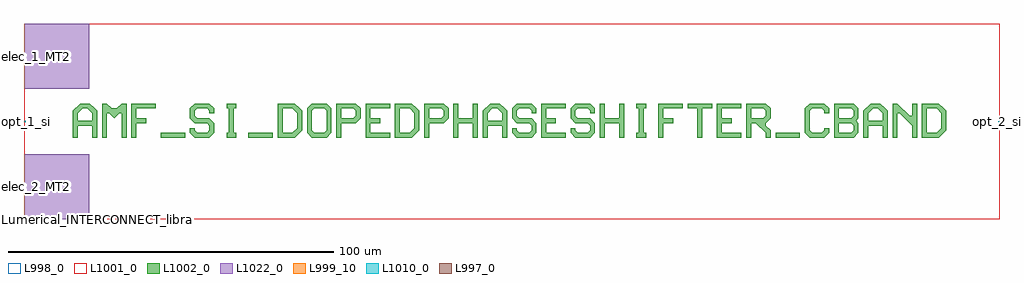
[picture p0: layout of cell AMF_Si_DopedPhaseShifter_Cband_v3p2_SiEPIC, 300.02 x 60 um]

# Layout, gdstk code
import gdstk
lib = gdstk.Library(unit=1e-6, precision=1e-09)
def R(c, l, rs):  # rectangles x0, y0, x1, y1
    for r in rs: c.add(gdstk.rectangle(r[:2], r[2:], *l))
def P(c, l, *ps):  # polygons
    for p in ps: c.add(gdstk.Polygon(p, *l))
L997_0 = (997, 0)
L998_0 = (998, 0)
L999_10 = (999, 10)
L1001_0 = (1001, 0)
L1002_0 = (1002, 0)
L1010_0 = (1010, 0)
L1022_0 = (1022, 0)

amf_si_dopedphaseshifter = lib.new_cell('AMF_Si_DopedPhaseShifter_Cband_v3p2')
R(amf_si_dopedphaseshifter, L1001_0, [(0,-30,300,30)])
R(amf_si_dopedphaseshifter, L1002_0, [(42,-5,49.5,-3.5), (69,-5,76.5,-3.5), (231,-5,238.5,-3.5)])
P(amf_si_dopedphaseshifter, L1002_0, [(15,-5),(15,3.25),(17.25,5.5),(20.25,5.5),(21.75,4),(18,4),(16.5,2.5),(16.5,0.25),(21,0.25),(21,2.5),(19.5,4),(21.75,4),(22.5,3.25),(22.5,-5),(21,-5),(21,-1.25),(16.5,-1.25),(16.5,-5)],
  [(24,-5),(24,5.5),(25.5,5.5),(27,4),(28.5,4),(30,5.5),(31.5,5.5),(31.5,-5),(30,-5),(30,2.5),(29.25,2.5),(27.75,1),(26.25,2.5),(25.5,2.5),(25.5,-5)],
  [(33,-5),(33,5.5),(40.5,5.5),(40.5,4),(34.5,4),(34.5,1),(37.5,1),(37.5,-0.5),(34.5,-0.5),(34.5,-5)],
  [(52.5,-5),(51,-3.5),(51,-2),(52.5,-2),(52.5,-2.75),(53.25,-3.5),(56.25,-3.5),(57,-2.75),(57,-1.25),(56.25,-0.5),(52.5,-0.5),(51,1),(51,4),(52.5,5.5),(57,5.5),(58.5,4),(58.5,2.5),(57,2.5),(57,3.25),(56.25,4),(53.25,4),(52.5,3.25),(52.5,1.75),(53.25,1),(57,1),(58.5,-0.5),(58.5,-3.5),(57,-5)],
  [(62.25,-5),(62.25,-3.5),(63,-3.5),(63,4),(62.25,4),(62.25,5.5),(65.25,5.5),(65.25,4),(64.5,4),(64.5,-3.5),(65.25,-3.5),(65.25,-5)],
  [(78,-5),(78,5.5),(83.25,5.5),(84.75,4),(79.5,4),(79.5,-3.5),(82.5,-3.5),(84,-2),(84,2.5),(82.5,4),(84.75,4),(85.5,3.25),(85.5,-2.75),(83.25,-5)],
  [(88.5,-5),(87,-3.5),(87,4),(88.5,5.5),(93,5.5),(94.5,4),(94.5,0.25),(93,0.25),(93,3.25),(92.25,4),(89.25,4),(88.5,3.25),(88.5,-2.75),(89.25,-3.5),(92.25,-3.5),(93,-2.75),(93,0.25),(94.5,0.25),(94.5,-3.5),(93,-5)],
  [(96,-5),(96,5.5),(102,5.5),(103.5,4),(103.5,1),(102,-0.5),(97.5,-0.5),(97.5,1),(101.25,1),(102,1.75),(102,3.25),(101.25,4),(97.5,4),(97.5,-5)],
  [(105,-5),(105,5.5),(112.5,5.5),(112.5,4),(106.5,4),(106.5,1),(109.5,1),(109.5,-0.5),(106.5,-0.5),(106.5,-3.5),(112.5,-3.5),(112.5,-5)],
  [(114,-5),(114,5.5),(119.25,5.5),(120.75,4),(115.5,4),(115.5,-3.5),(118.5,-3.5),(120,-2),(120,2.5),(118.5,4),(120.75,4),(121.5,3.25),(121.5,-2.75),(119.25,-5)],
  [(123,-5),(123,5.5),(129,5.5),(130.5,4),(130.5,1),(129,-0.5),(124.5,-0.5),(124.5,1),(128.25,1),(129,1.75),(129,3.25),(128.25,4),(124.5,4),(124.5,-5)],
  [(132,-5),(132,5.5),(133.5,5.5),(133.5,1),(138,1),(138,5.5),(139.5,5.5),(139.5,-5),(138,-5),(138,-0.5),(133.5,-0.5),(133.5,-5)],
  [(141,-5),(141,3.25),(143.25,5.5),(146.25,5.5),(147.75,4),(144,4),(142.5,2.5),(142.5,0.25),(147,0.25),(147,2.5),(145.5,4),(147.75,4),(148.5,3.25),(148.5,-5),(147,-5),(147,-1.25),(142.5,-1.25),(142.5,-5)],
  [(151.5,-5),(150,-3.5),(150,-2),(151.5,-2),(151.5,-2.75),(152.25,-3.5),(155.25,-3.5),(156,-2.75),(156,-1.25),(155.25,-0.5),(151.5,-0.5),(150,1),(150,4),(151.5,5.5),(156,5.5),(157.5,4),(157.5,2.5),(156,2.5),(156,3.25),(155.25,4),(152.25,4),(151.5,3.25),(151.5,1.75),(152.25,1),(156,1),(157.5,-0.5),(157.5,-3.5),(156,-5)],
  [(159,-5),(159,5.5),(166.5,5.5),(166.5,4),(160.5,4),(160.5,1),(163.5,1),(163.5,-0.5),(160.5,-0.5),(160.5,-3.5),(166.5,-3.5),(166.5,-5)],
  [(169.5,-5),(168,-3.5),(168,-2),(169.5,-2),(169.5,-2.75),(170.25,-3.5),(173.25,-3.5),(174,-2.75),(174,-1.25),(173.25,-0.5),(169.5,-0.5),(168,1),(168,4),(169.5,5.5),(174,5.5),(175.5,4),(175.5,2.5),(174,2.5),(174,3.25),(173.25,4),(170.25,4),(169.5,3.25),(169.5,1.75),(170.25,1),(174,1),(175.5,-0.5),(175.5,-3.5),(174,-5)],
  [(177,-5),(177,5.5),(178.5,5.5),(178.5,1),(183,1),(183,5.5),(184.5,5.5),(184.5,-5),(183,-5),(183,-0.5),(178.5,-0.5),(178.5,-5)],
  [(188.25,-5),(188.25,-3.5),(189,-3.5),(189,4),(188.25,4),(188.25,5.5),(191.25,5.5),(191.25,4),(190.5,4),(190.5,-3.5),(191.25,-3.5),(191.25,-5)],
  [(195,-5),(195,5.5),(202.5,5.5),(202.5,4),(196.5,4),(196.5,1),(199.5,1),(199.5,-0.5),(196.5,-0.5),(196.5,-5)],
  [(207,-5),(207,4),(204,4),(204,5.5),(211.5,5.5),(211.5,4),(208.5,4),(208.5,-5)],
  [(213,-5),(213,5.5),(220.5,5.5),(220.5,4),(214.5,4),(214.5,1),(217.5,1),(217.5,-0.5),(214.5,-0.5),(214.5,-3.5),(220.5,-3.5),(220.5,-5)],
  [(222,-5),(222,5.5),(228,5.5),(229.5,4),(223.5,4),(223.5,1),(227.25,1),(228,1.75),(228,3.25),(227.25,4),(229.5,4),(229.5,1),(228,-0.5),(228,-1.25),(229.5,-2.75),(229.5,-5),(228,-5),(228,-3.5),(225,-0.5),(223.5,-0.5),(223.5,-5)],
  [(241.5,-5),(240,-3.5),(240,4),(241.5,5.5),(246,5.5),(247.5,4),(247.5,2.5),(246,2.5),(246,3.25),(245.25,4),(242.25,4),(241.5,3.25),(241.5,-2.75),(242.25,-3.5),(245.25,-3.5),(246,-2.75),(246,-2),(247.5,-2),(247.5,-3.5),(246,-5)],
  [(249,-5),(249,5.5),(255,5.5),(256.5,4),(250.5,4),(250.5,1),(254.25,1),(255,1.75),(255,3.25),(254.25,4),(256.5,4),(256.5,1),(255.75,0.25),(256.5,-0.5),(250.5,-0.5),(250.5,-3.5),(254.25,-3.5),(255,-2.75),(255,-1.25),(254.25,-0.5),(256.5,-0.5),(256.5,-3.5),(255,-5)],
  [(258,-5),(258,3.25),(260.25,5.5),(263.25,5.5),(264.75,4),(261,4),(259.5,2.5),(259.5,0.25),(264,0.25),(264,2.5),(262.5,4),(264.75,4),(265.5,3.25),(265.5,-5),(264,-5),(264,-1.25),(259.5,-1.25),(259.5,-5)],
  [(267,-5),(267,5.5),(268.5,5.5),(272.25,1.75),(273,1.75),(273,5.5),(274.5,5.5),(274.5,-5),(273,-5),(273,-1.25),(269.25,2.5),(268.5,2.5),(268.5,-5)],
  [(276,-5),(276,5.5),(281.25,5.5),(282.75,4),(277.5,4),(277.5,-3.5),(280.5,-3.5),(282,-2),(282,2.5),(280.5,4),(282.75,4),(283.5,3.25),(283.5,-2.75),(281.25,-5)])
R(amf_si_dopedphaseshifter, L1010_0, [(0,-0.25,0.5,0.25), (299.5,-0.25,300,0.25)])
R(amf_si_dopedphaseshifter, L1022_0, [(0,-30,20,-10), (0,10,20,30)])
amf_si_dopedphaseshifter.add(gdstk.Label('opt_2_si', (300,0), layer=1010, texttype=0))
amf_si_dopedphaseshifter.add(gdstk.Label('opt_1_si', (0,0), layer=1010, texttype=0))
amf_si_dopedphaseshifter.add(gdstk.Label('elec_1_MT2', (0,20), layer=1022, texttype=0))
amf_si_dopedphaseshifter.add(gdstk.Label('elec_2_MT2', (0,-20), layer=1022, texttype=0))

c_amf_si_dopedphaseshifter = lib.new_cell('AMF_Si_DopedPhaseShifter_Cband_v3p2_SiEPIC')
R(c_amf_si_dopedphaseshifter, L998_0, [(0,-30,300,30)])
c_amf_si_dopedphaseshifter.add(gdstk.FlexPath([(299.99,0),(300.01,0)], 0.5, ends="flush", simple_path=True, layer=997, datatype=0))  # L997_0
c_amf_si_dopedphaseshifter.add(gdstk.FlexPath([(0.01,0),(-0.01,0)], 0.5, ends="flush", simple_path=True, layer=997, datatype=0))  # L997_0
c_amf_si_dopedphaseshifter.add(gdstk.FlexPath([(0.01,20),(-0.01,20)], 20, ends="flush", simple_path=True, layer=999, datatype=10))  # L999_10
c_amf_si_dopedphaseshifter.add(gdstk.FlexPath([(0.01,-20),(-0.01,-20)], 20, ends="flush", simple_path=True, layer=999, datatype=10))  # L999_10
c_amf_si_dopedphaseshifter.add(gdstk.Reference(amf_si_dopedphaseshifter, (0,0)))
c_amf_si_dopedphaseshifter.add(gdstk.Label('Lumerical_INTERCONNECT_library=Design kits/AMF_CML', (0,-30), layer=998, texttype=0))
c_amf_si_dopedphaseshifter.add(gdstk.Label('Component=AMF_Si_DopedPhaseShifter_Cband_v3p2', (0,-29.9), layer=998, texttype=0))
c_amf_si_dopedphaseshifter.add(gdstk.Label('opt_2_si', (300,0), layer=997, texttype=0))
c_amf_si_dopedphaseshifter.add(gdstk.Label('opt_1_si', (0,0), layer=997, texttype=0))
c_amf_si_dopedphaseshifter.add(gdstk.Label('opt_2_si', (300,0), layer=997, texttype=0))
c_amf_si_dopedphaseshifter.add(gdstk.Label('opt_1_si', (0,0), layer=997, texttype=0))
c_amf_si_dopedphaseshifter.add(gdstk.Label('elec_1_MT2', (0,20), layer=999, texttype=10))
c_amf_si_dopedphaseshifter.add(gdstk.Label('elec_2_MT2', (0,-20), layer=999, texttype=10))
c_amf_si_dopedphaseshifter.add(gdstk.Label('elec_1_MT2', (0,20), layer=999, texttype=10))
c_amf_si_dopedphaseshifter.add(gdstk.Label('elec_2_MT2', (0,-20), layer=999, texttype=10))

lib.write_gds('AMF_Si_DopedPhaseShifter_Cband_v3p2_SiEPIC.gds')
